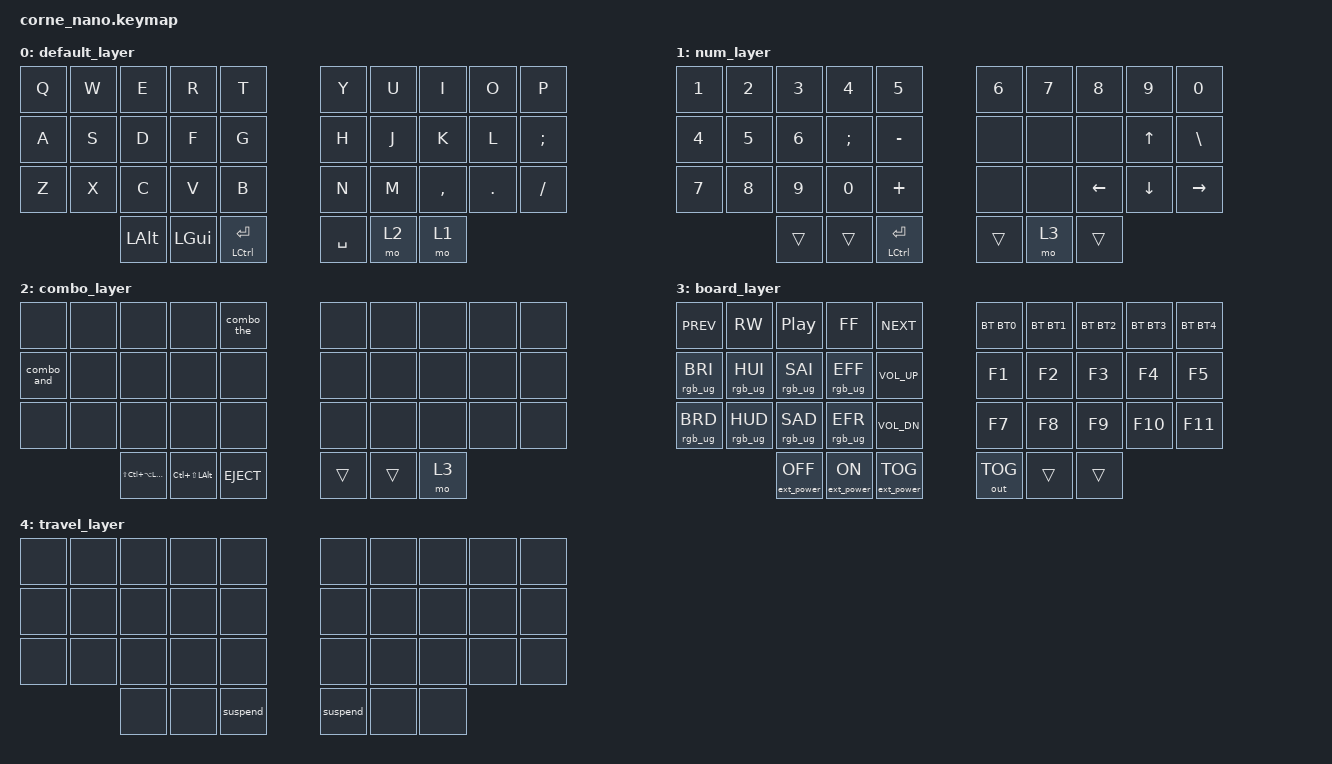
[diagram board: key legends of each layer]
/*
 * Copyright (c) 2020 The ZMK Contributors
 *
 * SPDX-License-Identifier: MIT
 */

#include <behaviors.dtsi>
#include <dt-bindings/zmk/keys.h>
#include <dt-bindings/zmk/bt.h>
#include <dt-bindings/zmk/backlight.h>
#include <dt-bindings/zmk/outputs.h>
#include <dt-bindings/zmk/ext_power.h>
#include <dt-bindings/zmk/rgb.h>
#include <dt-bindings/led/led.h>

#define BT0 BT_SEL 0
#define BT1 BT_SEL 1
#define BT2 BT_SEL 2
#define BT3 BT_SEL 3
#define BT4 BT_SEL 4
// #define MO_TOG(layer) &mo_tog layer layer   // Macro to apply momentary-layer-on-hold/toggle-layer-on-tap to a specific layer


&spi1 {
	compatible = "nordic,nrf-spim";
	status = "okay";
	mosi-pin = <6>;
	// Unused pins, needed for SPI definition, but not used by the ws2812 driver itself.
	sck-pin = <5>;
	miso-pin = <7>;

	led_strip: ws2812@0 {
		compatible = "worldsemi,ws2812-spi";
		label = "WS2812";

		/* SPI */
		reg = <0>; /* ignored, but necessary for SPI bindings */
		spi-max-frequency = <4000000>;

		/* WS2812 */
		chain-length = <37>; /* arbitrary; change at will */
		spi-one-frame = <0x70>;
		spi-zero-frame = <0x40>;
		color-mapping = <LED_COLOR_ID_GREEN LED_COLOR_ID_RED LED_COLOR_ID_BLUE>;
	};
};

/ {
	chosen {
		zmk,underglow = &led_strip;
    zmk,matrix_transform = &five_column_transform;
	};
};

    &caps_word {
        continue-list = <UNDERSCORE MINUS SPACE BACKSPACE>;
    };

/ {
  
    combos {
         compatible = "zmk,combos";

         // after https://github.com/bcat/zmk-config/commit/0f0b57ff233a56345426d3139d3d26906ecd7f18
         combo_unlock {
           timeout-ms = <2000>;
           key-positions = <0 9 20 29>;
           bindings = <&tog 4>;
         };
	 
	 // combo_showkb {
           //timeout-ms = <2000>;
           //key-positions = <12 37>;
           //bindings = <&kp C_EJECT>;
         //};
	 	 
		 //combo_equals_l {
       //    timeout-ms = <2000>;
         //  key-positions = <24 29>;
		   //layers = <1>;
         //  bindings = <&kp KP_EQUAL>;
         //};
     
     	 //combo_equals_r {
          // timeout-ms = <2000>;
          // key-positions = <35 29>;
          // layers = <1>;
          // bindings = <&kp KP_EQUAL>;
         //};
         
         //combo_tog1 {
           //timeout-ms = <500>;
           //key-positions = <39 41>;
           //bindings = <&tog 1>;
         //};
         
         //combo_tog2 {
           //timeout-ms = <500>;
           //key-positions = <39 40>;
           //bindings = <&tog 1>;
         //};
         
         //combo_tog3 {
           //timeout-ms = <800>;
           //key-positions = <39 40 41>;
           //bindings = <&tog 3>;
         //};
         
         combo_hyper {
           timeout-ms = <800>;
           key-positions = <16 17 18>;
           bindings = <&sk LG(LS(LA(LCTRL)))>;
         };
		
		 combo_lpar {
           timeout-ms = <800>;
           key-positions = <3 4>;
           bindings = <&kp LPAR>;
         };
		
	     combo_rpar {
           timeout-ms = <800>;
           key-positions = <5 6>;
           bindings = <&kp RPAR>;
         };
		
	     combo_del {
           timeout-ms = <800>;
           key-positions = <8 9>;
           bindings = <&kp DEL>;
         };
		
		combo_lbkt {
           timeout-ms = <800>;
           key-positions = <13 14>;
           bindings = <&kp LBKT>;
         };
		
	     combo_rbkt {
           timeout-ms = <800>;
           key-positions = <15 16>;
           bindings = <&kp RBKT>;
         };
		
		combo_lbrc {
           timeout-ms = <800>;
           key-positions = <23 24>;
           bindings = <&kp LBRC>;
         };
		
	     combo_rbrc {
           timeout-ms = <800>;
           key-positions = <25 26>;
           bindings = <&kp RBRC>;
         };
     };
     
     behaviors {
        td0: tap_dance_0 {
            compatible = "zmk,behavior-tap-dance";
            label = "TAP_DANCE_0";
            #binding-cells = <0>;
            tapping-term-ms = <500>;
            bindings = <&kp RSHFT>, <&caps_word>;
        };
    };

        keymap {
                compatible = "zmk,keymap";

                default_layer {
// -----------------------------------------------------------------------------------------
// |  TAB |  Q  |  W  |  E  |  R       |    T     |   |  Y  |  U   |  I  |  O  |  P  | BKSP      |
// | CAPS |  A  |  S  |  D  |  F       |    G     |   |  H  |  J   |  K  |  L  |  ;  |  '        |
// | SHFT |  Z  |  X  |  C  |  V       |    B     |   |  N  |  M   |  ,  |  .  |  /  | SHFT/CAPW |
//                    | ALT | CMD(HYP) | CTL(ENT) |   | SPC | FN2  | FN1 |
                        bindings = <
   &kp Q    &kp W    &kp E       &kp R      &kp T          &kp Y       &kp U    &kp I       &kp O    &kp P     
   &kp A    &kp S    &kp D       &kp F      &kp G          &kp H       &kp J    &kp K       &kp L    &kp SEMI 
   &kp Z    &kp X    &kp C       &kp V      &kp B          &kp N       &kp M    &kp COMMA   &kp DOT  &kp FSLH 
                                 &kp LALT    &kp LGUI   &mt LCTRL RET  &kp SPACE   &mo 2    &mo 1
                        >;
                };
                num_layer {
// -----------------------------------------------------------------------------------------
// |   TAB |  1  |  2  |  3  |  4  |    5     |   |  6  |  7  |  8   |   9  |   0   | BKSP      |
// | EJECT |  4  |  5  |  6  |  `  |    -     |   |     |     |      |  UP  |   \   |   `       |
// |  SHFT |  7  |  8  |  9  |  0  |    =     |   |     |     | LEFT | DOWN | RIGHT | SHFT/CAPW |
//                     | ALT | CMD | CTL(ENT) |   | SPC | FN3 |  FN1 |
                        bindings = <
   &kp N1   &kp N2   &kp N3   &kp N4      &kp N5         &kp N6   &kp N7   &kp N8      &kp N9      &kp N0
   &kp N4   &kp N5   &kp N6   &kp SEMI    &kp MINUS      &none    &none    &none       &kp UP      &kp BSLH
   &kp N7   &kp N8   &kp N9   &kp N0      &kp PLUS       &none    &none    &kp LEFT    &kp DOWN    &kp RIGHT
                                 &trans   &trans      &mt LCTRL RET  &trans   &mo 3    &trans
                        >;
                };

                combo_layer {
// -----------------------------------------------------------------------------------------
// | ESC  |  7   |  8   |  9    |        |         |   |  F1   |  F2   |  F3   | ( | ) | DEL    |
// | TOG1 |  4   |  5   |  6    |        |         |   |  F4   |  F5   |  F6   | [ | ] |        | 
// |  .   |  1   |  2   |  3    |  0     |         |   |  F7   |  F8   |  F9   | { | } | TOG1   |
//                      | HYPER |  MEH   | MYKEYB  |   | SPACE | FN2   | FN1   |
                        bindings = <
   &none  	   &none   &none   &none    &combo_the    &none  &none   &none   &none    &none 
   &combo_and  &none   &none   &none    &none         &none  &none   &none   &none    &none
   &none  	   &none   &none   &none    &none         &none  &none   &none   &none    &none
			&kp LS(LC(LA(LGUI)))   &kp LC(LS(LALT)) &kp C_EJECT   &trans  &trans   &mo 3
                        >;
                };
		
		board_layer {
// -----------------------------------------------------------------------------------------
// | ESC     | PRVS  | RWND  | PLAY  	| MFFD    | NEXT    |   | BT1     | BT2   | BT3   | BT4   | BT5   | BT_CLR  |
// | RGB_TOG | BRI + | HUE + | SAT + 	| EFF +   | VOL+    |   |         |       |       |       |       | OUT_TOG |
// |         | BRI - | HUE - | SAT - 	| EFF -   | VOL-    |   |   	  |       |       |       |       |         |
//                           | PWR_OFF  | PWR_OFF | PWR_TOG	| 	| 		  |       |       |
                        bindings = <
   &kp C_PREV       &kp C_RW         &kp C_PP          &kp C_FF		&kp C_NEXT		&bt BT0        &bt BT1  &bt BT2   &bt BT3   &bt BT4
   &rgb_ug RGB_BRI  &rgb_ug RGB_HUI  &rgb_ug RGB_SAI   &rgb_ug RGB_EFF		&kp C_VOL_UP		&kp F1         &kp F2   &kp F3    &kp F4    &kp F5
   &rgb_ug RGB_BRD  &rgb_ug RGB_HUD  &rgb_ug RGB_SAD   &rgb_ug RGB_EFR		&kp C_VOL_DN		&kp F7         &kp F8   &kp F9    &kp F10   &kp F11
                                                      &ext_power EP_OFF &ext_power EP_ON	&ext_power EP_TOG  	&out OUT_TOG   &trans   &trans
                        >;
                };
		
		travel_layer {
// -----------------------------------------------------------------------------------------
// |       |       |       |       |       |         |   |         |       |       |       |       |        |
// |       |       |       |       |       |         |   |         |       |       |       |       |        |
// |       |       |       |       |       |         |   |         |       |       |       |       |        |
//                         |       |       | SUSPEND |   | SUSPEND |       |       |
                        bindings = <
   &none    &none    &none    &none    &none        &none      &none   &none   &none     &none  
   &none    &none    &none    &none    &none        &none      &none   &none   &none     &none  
   &none    &none    &none    &none    &none     	&none      &none   &none   &none     &none    
                                 &none    &none    &suspend     &suspend   &none   &none
                        >;
                };
        };
};
